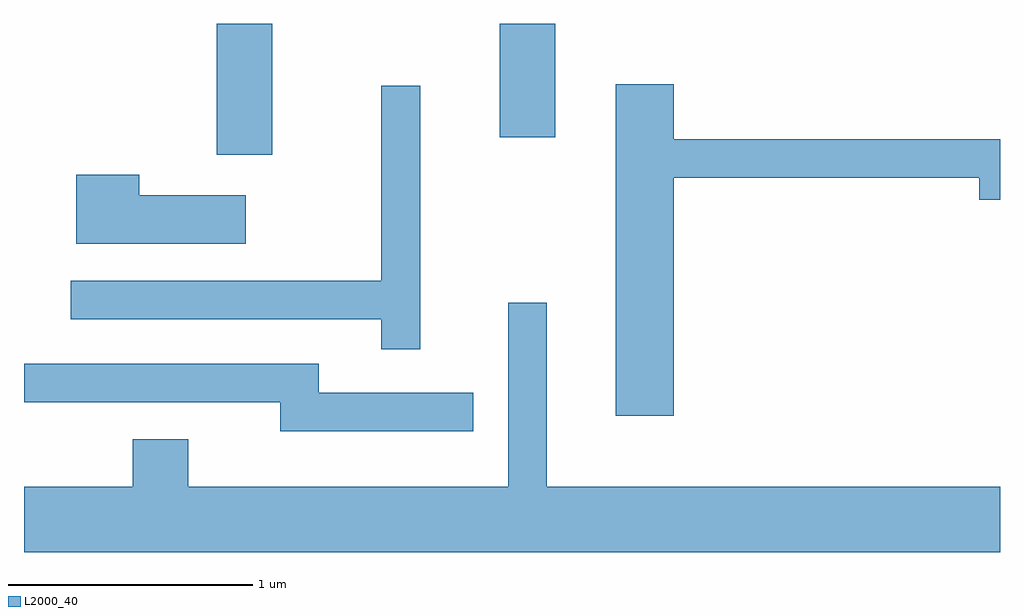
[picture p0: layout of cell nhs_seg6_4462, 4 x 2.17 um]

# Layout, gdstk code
import gdstk
lib = gdstk.Library(unit=1e-6, precision=1e-09)
def R(c, l, rs):  # rectangles x0, y0, x1, y1
    for r in rs: c.add(gdstk.rectangle(r[:2], r[2:], *l))
def P(c, l, *ps):  # polygons
    for p in ps: c.add(gdstk.Polygon(p, *l))
L2000_40 = (2000, 40)

nhs_seg6_4462 = lib.new_cell('nhs_seg6_4462')
R(nhs_seg6_4462, L2000_40, [(322.401,1591.626,322.629,1592.162), (323.561,1591.696,323.789,1592.162)])
P(nhs_seg6_4462, L2000_40, [(324.274,1591.531),(325.526,1591.531),(325.526,1591.441),(325.611,1591.441),(325.611,1591.689),(324.274,1591.689),(324.274,1591.914),(324.036,1591.914),(324.036,1590.556),(324.274,1590.556)],
  [(323.234,1591.908),(323.076,1591.908),(323.076,1591.109),(321.803,1591.109),(321.803,1590.951),(323.076,1590.951),(323.076,1590.828),(323.234,1590.828)],
  [(322.519,1591.459),(322.084,1591.459),(322.084,1591.544),(321.826,1591.544),(321.826,1591.261),(322.519,1591.261)],
  [(325.611,1590.264),(323.754,1590.264),(323.754,1591.018),(323.596,1591.018),(323.596,1590.264),(322.284,1590.264),(322.284,1590.459),(322.056,1590.459),(322.056,1590.264),(321.611,1590.264),(321.611,1589.996),(325.611,1589.996)],
  [(323.453,1590.649),(322.819,1590.649),(322.819,1590.769),(321.611,1590.769),(321.611,1590.611),(322.661,1590.611),(322.661,1590.491),(323.453,1590.491)])

lib.write_gds('nhs_seg6_4462.gds')
